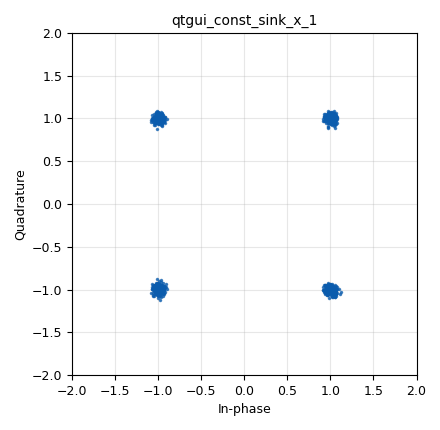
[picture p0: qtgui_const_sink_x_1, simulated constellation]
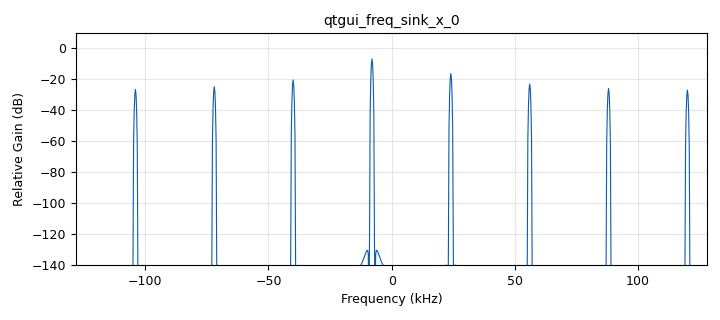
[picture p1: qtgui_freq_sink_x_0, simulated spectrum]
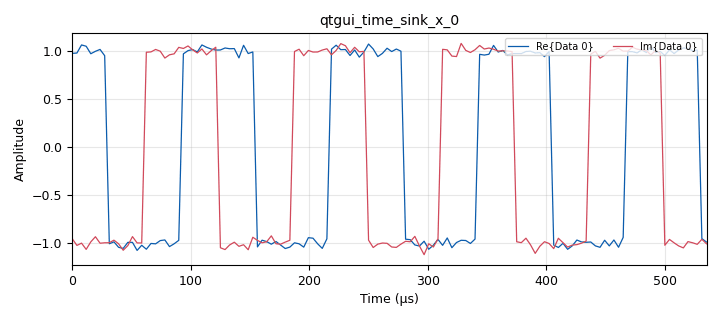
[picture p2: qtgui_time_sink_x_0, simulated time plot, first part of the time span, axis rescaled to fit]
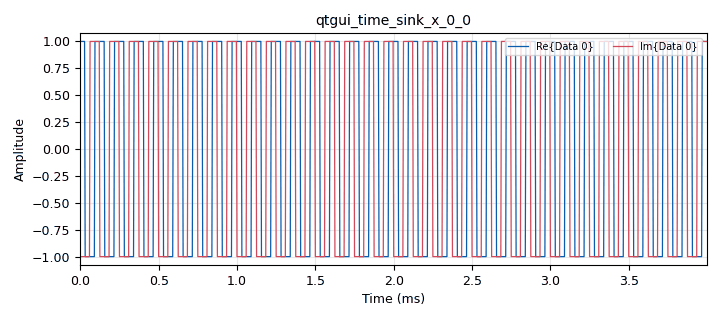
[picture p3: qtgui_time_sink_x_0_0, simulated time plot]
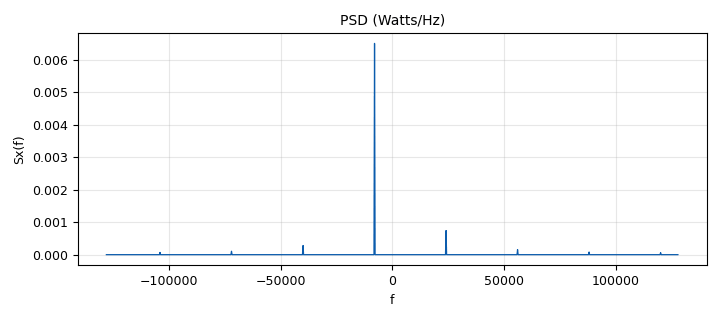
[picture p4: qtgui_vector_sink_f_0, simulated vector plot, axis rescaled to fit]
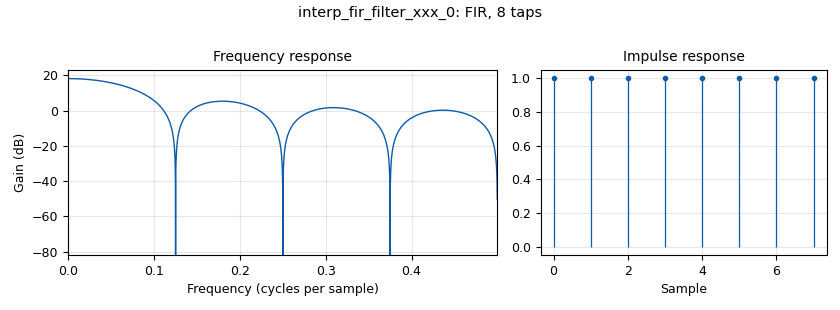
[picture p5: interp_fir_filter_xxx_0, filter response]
options:
  parameters:
    generate_options: qt_gui
    id: new_hier
    output_language: python
    title: QPSK
  states: {}

blocks:
- name: M
  id: variable
  parameters:
    value: len(tabla_de_verdad_constelacion)
  states: {}
- name: Rb
  id: variable
  parameters:
    value: Rs*bps
  states: {}
- name: Rs
  id: variable
  parameters:
    value: '32000'
  states: {}
- name: Sps
  id: variable
  parameters:
    value: len(h)
  states: {}
- name: bps
  id: variable
  parameters:
    value: int(math.log(M,2))
  states: {}
- name: h
  id: variable
  parameters:
    value: (1,1,1,1,1,1,1,1)
  states: {}
- name: samp_rate
  id: variable
  parameters:
    value: Rs*Sps
  states: {}
- name: tabla_de_verdad_constelacion
  id: variable
  parameters:
    value: (0.9239+0.3827j, -0.3827+0.9239j, -0.9239-0.3827j, 0.3827-0.9239j)
  states: {state: disabled}
- name: tabla_de_verdad_constelacion
  id: variable
  parameters:
    value: (0.77+0.77j,-0.77+0.77j, -0.77-0.77j,0.77-0.77j)
  states: {state: disabled}
- name: tabla_de_verdad_constelacion
  id: variable
  parameters:
    value: (-0.77-0.77j,-0.77+0.77j, +0.77+0.77j,0.77-0.77j)
  states: {state: disabled}
- name: tabla_de_verdad_constelacion
  id: variable
  parameters:
    value: (1-1j,-1-1j, -1+1j,1+1j)
  states: {}
- name: Menu
  id: qtgui_tab_widget
  parameters:
    label0: Time & Freq
    label1: Freq
    num_tabs: '2'
  states: {}
- name: analog_noise_source_x_0
  id: analog_noise_source_x
  parameters:
    amp: '0.05'
    noise_type: analog.GR_GAUSSIAN
    seed: '0'
    type: complex
  states: {}
- name: analog_random_source_x_0
  id: analog_random_source_x
  parameters:
    max: '2'
    min: '0'
    num_samps: '1000'
    repeat: 'True'
    type: byte
  states: {state: disabled}
- name: blocks_add_xx_0
  id: blocks_add_xx
  parameters:
    type: complex
  states: {}
- name: blocks_complex_to_mag_squared_0
  id: blocks_complex_to_mag_squared
  parameters:
    vlen: '1024'
  states: {}
- name: blocks_multiply_const_vxx_1
  id: blocks_multiply_const_vxx
  parameters:
    const: '[1/(1024*samp_rate)]*1024'
    type: float
    vlen: '1024'
  states: {}
- name: blocks_pack_k_bits_bb_0
  id: blocks_pack_k_bits_bb
  parameters:
    k: '8'
  states: {state: disabled}
- name: blocks_packed_to_unpacked_xx_0
  id: blocks_packed_to_unpacked_xx
  parameters:
    bits_per_chunk: '2'
    endianness: gr.GR_MSB_FIRST
    type: byte
  states: {state: disabled}
- name: blocks_stream_to_vector_0
  id: blocks_stream_to_vector
  parameters:
    num_items: '1024'
    type: complex
  states: {}
- name: blocks_vector_source_x_0
  id: blocks_vector_source_x
  parameters:
    repeat: 'True'
    type: byte
    vector: (0,1,2,3)
  states: {}
- name: digital_chunks_to_symbols_xx_0
  id: digital_chunks_to_symbols_xx
  parameters:
    dimension: '1'
    in_type: byte
    out_type: complex
    symbol_table: tabla_de_verdad_constelacion
  states: {}
- name: epy_block_0_0
  id: epy_block
  parameters:
    N: '1024'
    _source_code: |
      import numpy as np
      from gnuradio import gr


      class blk(gr.sync_block):  
          """vector averager. N is the lengh of the vector"""

          def __init__(self, N=1024):
              gr.sync_block.__init__(
                  self,
                  name='e_vec_averager_ff',   
                  in_sig=[(np.float32,N)],
                  out_sig=[(np.float32,N)]
              )
              self.N = N
              self.rows_counter=0
              self.sum=0

          def work(self, input_items, output_items):
              x=input_items[0]
              y=output_items[0]
              self.sum += np.sum(x, axis=0)
              self.rows_counter += len(x)
              y[:]=self.sum/self.rows_counter
              return len(output_items[0])
  states: {}
- name: fft_vxx_0
  id: fft_vxx
  parameters:
    fft_size: '1024'
    forward: 'True'
    shift: 'True'
    type: complex
    window: '[1]*1024'
  states: {}
- name: import_0
  id: import
  parameters:
    imports: import math
  states: {}
- name: interp_fir_filter_xxx_0
  id: interp_fir_filter_xxx
  parameters:
    interp: Sps
    taps: h
    type: ccc
  states: {}
- name: qtgui_const_sink_x_1
  id: qtgui_const_sink_x
  parameters:
    size: '1024'
    type: complex
  states: {}
- name: qtgui_freq_sink_x_0
  id: qtgui_freq_sink_x
  parameters:
    average: '0.05'
    bw: samp_rate
    fc: '0'
    fftsize: '1024'
    type: complex
  states: {}
- name: qtgui_time_sink_x_0
  id: qtgui_time_sink_x
  parameters:
    ctrlpanel: 'True'
    grid: 'True'
    name: ''''''
    size: '1024'
    srate: samp_rate
    type: complex
    width1: '3'
  states: {}
- name: qtgui_time_sink_x_0_0
  id: qtgui_time_sink_x
  parameters:
    ctrlpanel: 'True'
    grid: 'True'
    name: ''''''
    size: '1024'
    srate: samp_rate
    type: complex
    width1: '3'
  states: {}
- name: qtgui_vector_sink_f_0
  id: qtgui_vector_sink_f
  parameters:
    gui_hint: Menu@0:3,0,1,1
    label1: p4
    name: '"PSD (Watts/Hz)"'
    vlen: '1024'
    x_axis_label: '"f"'
    x_start: '-samp_rate/2'
    x_step: samp_rate/1024
    x_units: '"Hz"'
    y_axis_label: '"Sx(f)"'
    y_units: '"Watss/Hz"'
    ymax: 1/Rb
    ymin: '0'
  states: {}
- name: virtual_sink_0
  id: virtual_sink
  parameters:
    stream_id: p1
  states: {}
- name: virtual_sink_0_0
  id: virtual_sink
  parameters:
    stream_id: p0
  states: {}
- name: virtual_source_0
  id: virtual_source
  parameters:
    stream_id: p1
  states: {}
- name: virtual_source_0_0
  id: virtual_source
  parameters:
    stream_id: p0
  states: {}

connections:
- [analog_noise_source_x_0, '0', blocks_add_xx_0, '0']
- [analog_random_source_x_0, '0', blocks_pack_k_bits_bb_0, '0']
- [blocks_add_xx_0, '0', blocks_stream_to_vector_0, '0']
- [blocks_add_xx_0, '0', virtual_sink_0, '0']
- [blocks_complex_to_mag_squared_0, '0', epy_block_0_0, '0']
- [blocks_multiply_const_vxx_1, '0', qtgui_vector_sink_f_0, '0']
- [blocks_pack_k_bits_bb_0, '0', blocks_packed_to_unpacked_xx_0, '0']
- [blocks_packed_to_unpacked_xx_0, '0', digital_chunks_to_symbols_xx_0, '0']
- [blocks_stream_to_vector_0, '0', fft_vxx_0, '0']
- [blocks_vector_source_x_0, '0', digital_chunks_to_symbols_xx_0, '0']
- [digital_chunks_to_symbols_xx_0, '0', interp_fir_filter_xxx_0, '0']
- [epy_block_0_0, '0', blocks_multiply_const_vxx_1, '0']
- [fft_vxx_0, '0', blocks_complex_to_mag_squared_0, '0']
- [interp_fir_filter_xxx_0, '0', blocks_add_xx_0, '1']
- [interp_fir_filter_xxx_0, '0', virtual_sink_0_0, '0']
- [virtual_source_0, '0', qtgui_const_sink_x_1, '0']
- [virtual_source_0, '0', qtgui_time_sink_x_0, '0']
- [virtual_source_0_0, '0', qtgui_freq_sink_x_0, '0']
- [virtual_source_0_0, '0', qtgui_time_sink_x_0_0, '0']

metadata:
  file_format: 1
  grc_version: 3.10.10.0
